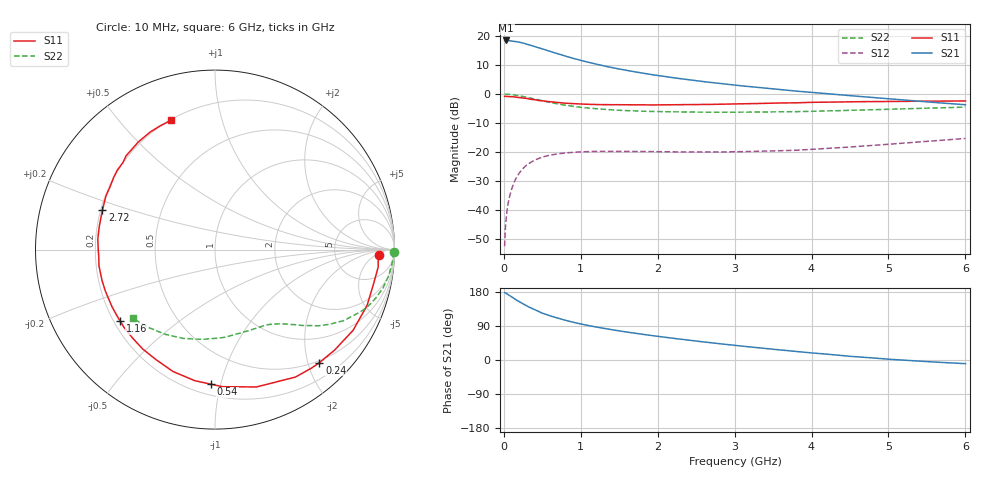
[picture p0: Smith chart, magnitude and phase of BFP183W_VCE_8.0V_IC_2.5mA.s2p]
! Infineon Technologies  Discrete & RF Semiconductors
! BFP183W
! VCE = 8.0 V,  IC =  2.5 mA
! Common Emitter S-Parameters:  Jan 2016
# GHz  S  MA  R  50
!  f  S11  S21  S12  S22
! GHz  MAG  ANG  MAG  ANG  MAG  ANG  MAG  ANG
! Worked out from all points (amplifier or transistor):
!   210 points, 10 MHz to 6 GHz, reference 50 ohm
!   highest |S21| = 18.5 dB at 30 MHz (marker M1)
!   |S21| within 3 dB of that: start of sweep to 511.5 MHz
!   unconditionally stable (mu >= 1): 2.304 GHz to end of sweep
!   at 185 MHz: K = 0.10, MSG = 22.9 dB, |S12| = -27.9 dB
!   at 1.52 GHz: K = 0.69, MSG = 14.1 dB, |S12| = -19.7 dB
!   at 6 GHz: K = 1.01, MAG = 5.1 dB, |S12| = -15.3 dB
!   S11 on the Smith chart (normalised r, x): 10 MHz: 19, -7; 240 MHz: 0.46, -2.20; 540 MHz: 0.27, -0.93; 1.16 GHz: 0.23, -0.32; 2.72 GHz: 0.21, +0.16; 6 GHz: 0.20, +0.69
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0.01  0.913 -2.0  8.336 177.8  0.0024 90.9  0.9957 -0.9
0.02  0.9115 -4.1  8.357 177.3  0.0049 83.0  0.9915 -1.7
0.03  0.9142 -6.2  8.37 176.1  0.0071 87.9  0.9931 -2.6
0.075  0.9012 -15.3  8.276 170.0  0.0173 80.3  0.9833 -6.5
0.15  0.8911 -30.3  8.073 160.0  0.0337 72.8  0.96 -12.9
0.2  0.8705 -40.0  7.828 153.6  0.0435 67.5  0.9361 -16.7
0.24  0.8574 -47.3  7.607 149.3  0.0506 63.7  0.9149 -19.6
0.3  0.84 -57.7  7.228 142.2  0.0605 58.2  0.8788 -23.4
0.4  0.7995 -73.2  6.612 132.5  0.0729 50.2  0.82 -28.8
0.5  0.7649 -86.9  5.994 123.6  0.0821 44.1  0.7641 -33.0
0.54  0.7506 -91.6  5.758 120.9  0.0846 41.8  0.7443 -34.3
0.7  0.7181 -109.1  4.946 110.2  0.0933 34.7  0.6752 -38.8
0.8  0.6958 -118.1  4.489 104.5  0.0968 31.0  0.6417 -41.2
1.02  0.6716 -134.3  3.729 94.3  0.1009 25.3  0.5876 -45.2
1.16  0.6616 -143.0  3.364 88.6  0.1027 22.6  0.5645 -47.3
1.6  0.6529 -164.3  2.551 73.6  0.103 18.1  0.5181 -53.5
2.02  0.6504 -179.6  2.069 62.0  0.1017 17.0  0.4984 -59.9
2.72  0.6643 160.7  1.567 44.9  0.1003 19.5  0.4862 -71.7
3.1  0.6787 151.5  1.381 36.7  0.1017 22.0  0.4871 -78.8
4.1  0.7219 131.9  1.042 17.1  0.1137 29.9  0.5073 -100.2
5.1  0.7488 117.9  0.807 0.9  0.1397 34.5  0.5516 -122.8
6  0.7603 108.9  0.654 -9.7  0.1718 34.7  0.5957 -139.9
